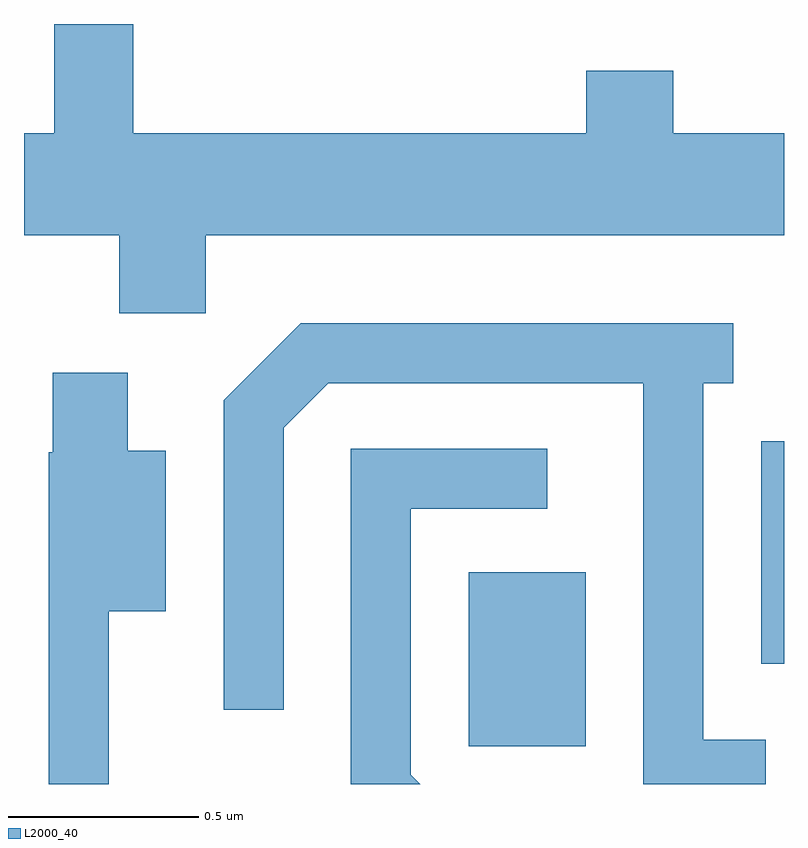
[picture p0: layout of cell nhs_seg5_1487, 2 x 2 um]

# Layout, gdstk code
import gdstk
lib = gdstk.Library(unit=1e-6, precision=1e-09)
def R(c, l, rs):  # rectangles x0, y0, x1, y1
    for r in rs: c.add(gdstk.rectangle(r[:2], r[2:], *l))
def P(c, l, *ps):  # polygons
    for p in ps: c.add(gdstk.Polygon(p, *l))
L2000_40 = (2000, 40)

nhs_seg5_1487 = lib.new_cell('nhs_seg5_1487')
R(nhs_seg5_1487, L2000_40, [(196.781,1513.171,197.089,1513.629), (197.551,1513.388,197.611,1513.974)])
P(nhs_seg5_1487, L2000_40, [(196.089,1514.516),(197.611,1514.516),(197.611,1514.784),(197.319,1514.784),(197.319,1514.949),(197.091,1514.949),(197.091,1514.784),(195.899,1514.784),(195.899,1515.072),(195.691,1515.072),(195.691,1514.784),(195.611,1514.784),(195.611,1514.516),(195.861,1514.516),(195.861,1514.311),(196.089,1514.311)],
  [(197.563,1513.189),(197.399,1513.189),(197.399,1514.126),(197.478,1514.126),(197.478,1514.284),(196.339,1514.284),(196.136,1514.082),(196.136,1513.268),(196.294,1513.268),(196.294,1514.009),(196.412,1514.126),(197.241,1514.126),(197.241,1513.072),(197.563,1513.072)],
  [(195.834,1513.526),(195.984,1513.526),(195.984,1513.949),(195.884,1513.949),(195.884,1514.154),(195.686,1514.154),(195.686,1513.945),(195.676,1513.945),(195.676,1513.072),(195.834,1513.072)],
  [(196.629,1513.097),(196.629,1513.796),(196.988,1513.796),(196.988,1513.954),(196.471,1513.954),(196.471,1513.072),(196.654,1513.072)])

lib.write_gds('nhs_seg5_1487.gds')
